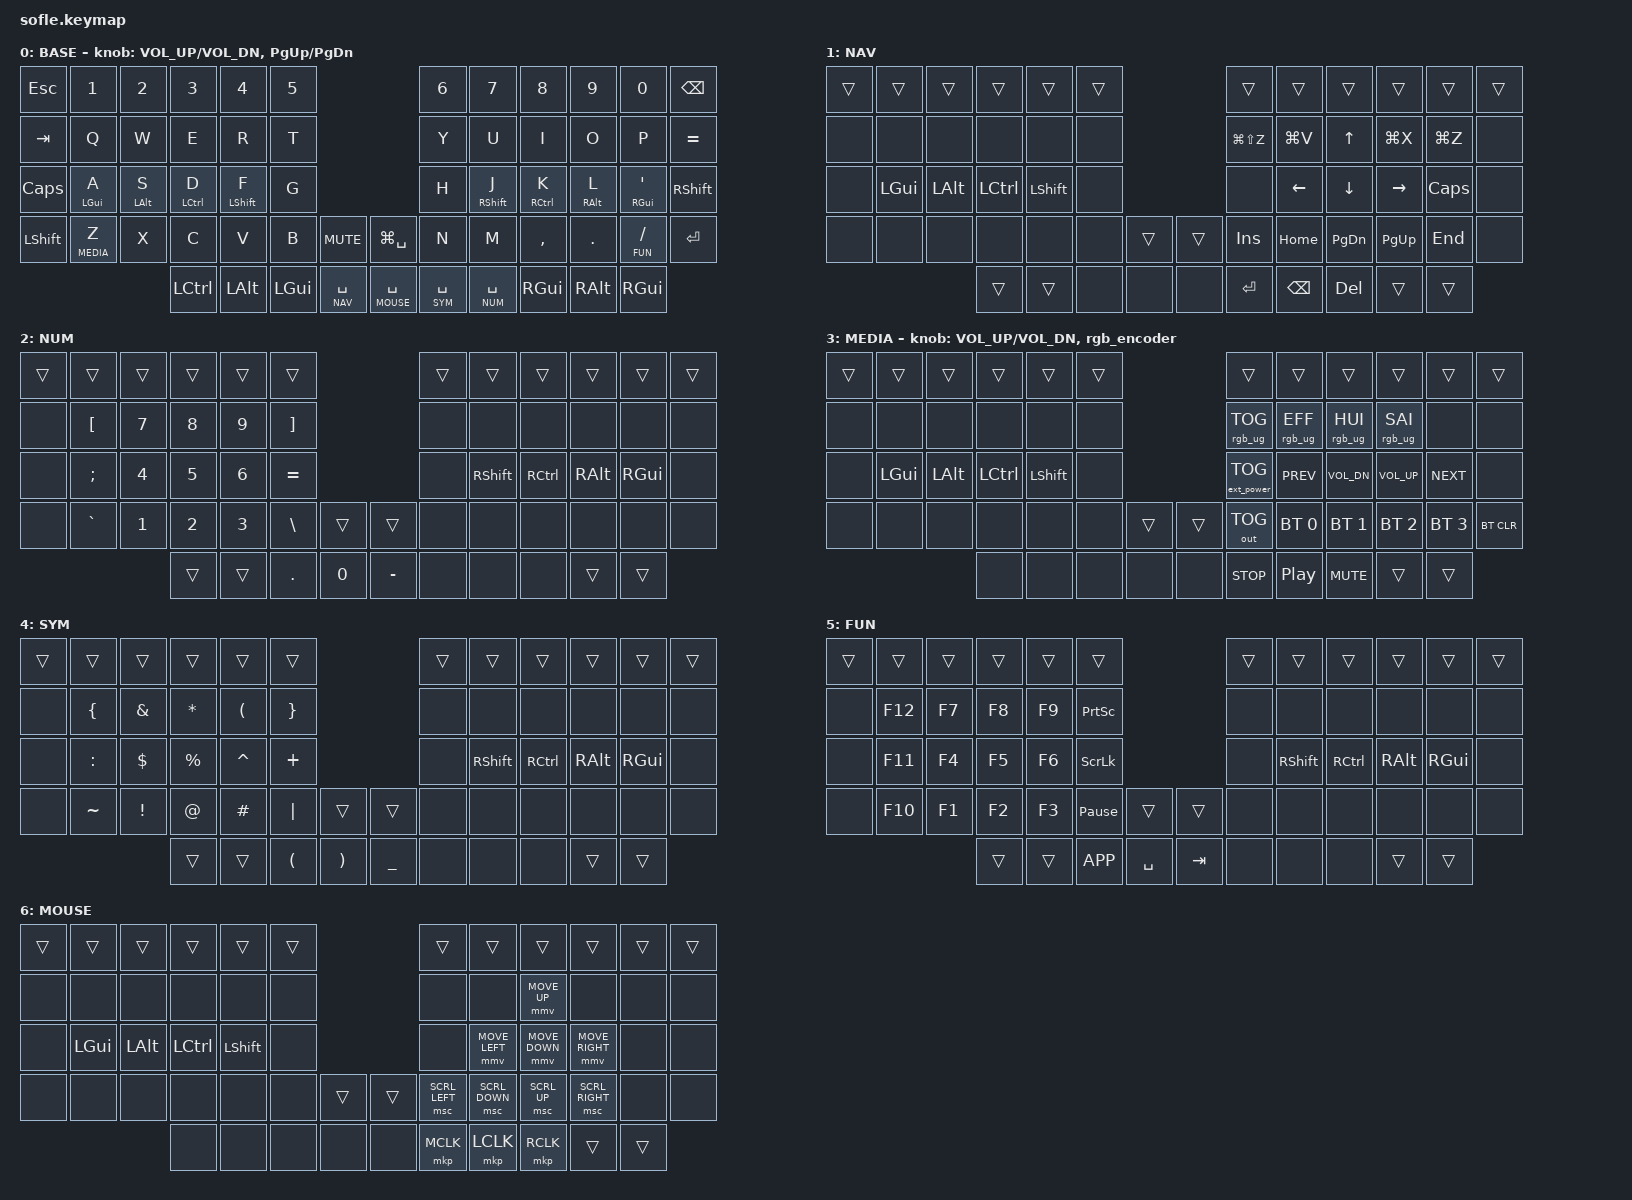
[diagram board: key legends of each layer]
/*
 * Copyright (c) 2020 The ZMK Contributors
 *
 * SPDX-License-Identifier: MIT
 */

//
//   Miryoku-style layout — QWERTY base, vim arrows (HJKL), GACS home row mods
//   Adapted from the Corne config for Sofle (6x4 + thumbs + encoders, 60 keys)
//
//   Layer 0: BASE    — QWERTY + home row mods + number row
//   Layer 1: NAV     — vim arrows, clipboard, nav (hold SPACE)
//   Layer 2: NUM     — numpad left hand (hold BSPC)
//   Layer 3: MEDIA   — media, BT, RGB (hold ESC)
//   Layer 4: SYM     — symbols left hand (hold ENTER)
//   Layer 5: FUN     — function keys left hand (hold DEL)
//   Layer 6: MOUSE   — mouse movement, scroll, buttons (hold TAB)

#include <behaviors.dtsi>
#include <dt-bindings/zmk/bt.h>
#include <dt-bindings/zmk/ext_power.h>
#include <dt-bindings/zmk/keys.h>
#include <dt-bindings/zmk/outputs.h>
#include <dt-bindings/zmk/pointing.h>
#include <dt-bindings/zmk/rgb.h>

#define BASE  0
#define NAV   1
#define NUM   2
#define MEDIA 3
#define SYM   4
#define FUN   5
#define MOUSE 6

// Sofle key positions (60 keys):
// Row 0 (num):    0  1  2  3  4  5      6  7  8  9 10 11
// Row 1 (alpha): 12 13 14 15 16 17     18 19 20 21 22 23
// Row 2 (home):  24 25 26 27 28 29     30 31 32 33 34 35
// Row 3 (bottom):36 37 38 39 40 41 42 43 44 45 46 47 48 49
// Row 4 (thumb):          50 51 52 53 54 55 56 57 58 59
//   (42/43 = inner thumb keys by the encoders; 50/51 & 58/59 = outer thumbs)

&mt {
    flavor = "tap-preferred";
    tapping-term-ms = <200>;
    quick-tap-ms = <175>;
    require-prior-idle-ms = <150>;
};

&lt {
    flavor = "balanced";
    tapping-term-ms = <200>;
    quick-tap-ms = <175>;
};

/ {
    combos {
        compatible = "zmk,combos";

        // -- Tier 1: Essential --

        combo_caps_word {
            bindings = <&caps_word>;
            key-positions = <28 31>;        // F + J (index home row)
            timeout-ms = <30>;
            require-prior-idle-ms = <150>;
        };

        combo_esc {
            bindings = <&kp ESC>;
            key-positions = <14 15>;        // W + E
            timeout-ms = <30>;
            require-prior-idle-ms = <150>;
        };

        combo_bspc {
            bindings = <&kp BSPC>;
            key-positions = <20 21>;        // I + O
            timeout-ms = <30>;
            require-prior-idle-ms = <150>;
        };

        combo_del {
            bindings = <&kp DEL>;
            key-positions = <21 22>;        // O + P
            timeout-ms = <30>;
            require-prior-idle-ms = <150>;
        };

        // -- Tier 2: High Value --

        combo_tab {
            bindings = <&kp TAB>;
            key-positions = <26 27>;        // S + D
            timeout-ms = <30>;
            require-prior-idle-ms = <150>;
        };

        combo_enter {
            bindings = <&kp RET>;
            key-positions = <32 33>;        // K + L
            timeout-ms = <30>;
            require-prior-idle-ms = <150>;
        };

        combo_copy {
            bindings = <&kp LG(C)>;
            key-positions = <38 39>;        // X + C
            timeout-ms = <30>;
            require-prior-idle-ms = <150>;
        };

        combo_paste {
            bindings = <&kp LG(V)>;
            key-positions = <39 40>;        // C + V
            timeout-ms = <30>;
            require-prior-idle-ms = <150>;
        };

        combo_cut {
            bindings = <&kp LG(X)>;
            key-positions = <38 40>;        // X + V (skip middle)
            timeout-ms = <30>;
            require-prior-idle-ms = <150>;
        };

        // -- Tier 3: Vertical Symbol Combos --

        combo_minus {
            bindings = <&kp MINUS>;
            key-positions = <31 45>;        // J + M (right index vertical)
            timeout-ms = <40>;
            require-prior-idle-ms = <100>;
        };

        combo_underscore {
            bindings = <&kp UNDER>;
            key-positions = <30 44>;        // H + N (right inner vertical)
            timeout-ms = <40>;
            require-prior-idle-ms = <100>;
        };

        combo_equal {
            bindings = <&kp EQUAL>;
            key-positions = <28 40>;        // F + V (left index vertical)
            timeout-ms = <40>;
            require-prior-idle-ms = <100>;
        };

        combo_grave {
            bindings = <&kp GRAVE>;
            key-positions = <26 38>;        // S + X (left ring vertical)
            timeout-ms = <40>;
            require-prior-idle-ms = <100>;
        };

        combo_semi {
            bindings = <&kp SEMI>;
            key-positions = <33 34>;        // L + ' (right ring+pinky home)
            timeout-ms = <30>;
            require-prior-idle-ms = <150>;
        };

        combo_slash {
            bindings = <&kp FSLH>;
            key-positions = <22 23>;        // P + =  ->  /  (Shift gives ?)
            timeout-ms = <40>;
            require-prior-idle-ms = <100>;
        };
    };

    macros {
        hyper: hyper {
            compatible = "zmk,behavior-macro";
            #binding-cells = <0>;
            bindings =
                <&macro_press &kp LGUI &kp LALT &kp LCTRL &kp LSHFT>,
                <&macro_pause_for_release>,
                <&macro_release &kp LGUI &kp LALT &kp LCTRL &kp LSHFT>;
        };
    };

    behaviors {
        // Encoder RGB brightness control (rgb_ug cannot be a sensor binding directly)
        rgb_encoder: rgb_encoder {
            compatible = "zmk,behavior-sensor-rotate";
            #sensor-binding-cells = <0>;
            bindings = <&rgb_ug RGB_BRI>, <&rgb_ug RGB_BRD>;
        };
    };

    keymap {
        compatible = "zmk,keymap";

        base_layer {
            display-name = "BASE";
            bindings = <
&kp ESC        &kp N1      &kp N2      &kp N3        &kp N4        &kp N5                                       &kp N6      &kp N7        &kp N8        &kp N9       &kp N0       &kp BSPC
&kp TAB        &kp Q       &kp W       &kp E         &kp R         &kp T                                        &kp Y       &kp U         &kp I         &kp O        &kp P        &kp EQUAL
&kp CAPS       &mt LGUI A  &mt LALT S  &mt LCTRL D   &mt LSHFT F   &kp G                                        &kp H       &mt RSHFT J   &mt RCTRL K   &mt RALT L   &mt RGUI SQT &kp RSHFT
&kp LSHFT      &lt MEDIA Z  &kp X       &kp C         &kp V         &kp B          &kp C_MUTE     &kp LG(SPACE)   &kp N       &kp M         &kp COMMA     &kp DOT      &lt FUN FSLH &kp RET
                                       &kp LCTRL     &kp LALT      &kp LGUI       &lt NAV SPACE  &lt MOUSE SPACE  &lt SYM SPACE &lt NUM SPACE &kp RGUI      &kp RALT     &kp RGUI
            >;

            sensor-bindings = <&inc_dec_kp C_VOL_UP C_VOL_DN &inc_dec_kp PG_UP PG_DN>;
        };

        nav_layer {
            display-name = "NAV";
            bindings = <
&trans         &trans      &trans      &trans        &trans        &trans                                       &trans       &trans      &trans        &trans       &trans       &trans
&none          &none       &none       &none         &none         &none                                        &kp LG(LS(Z)) &kp LG(V)  &kp UP        &kp LG(X)    &kp LG(Z)    &none
&none          &kp LGUI    &kp LALT    &kp LCTRL     &kp LSHFT     &none                                        &none        &kp LEFT    &kp DOWN      &kp RIGHT    &kp CAPS     &none
&none          &none       &none       &none         &none         &none          &trans         &trans         &kp INS      &kp HOME    &kp PG_DN     &kp PG_UP    &kp END      &none
                                       &trans        &trans        &none          &none          &none          &kp RET      &kp BSPC    &kp DEL       &trans       &trans
            >;
        };

        num_layer {
            display-name = "NUM";
            bindings = <
&trans         &trans      &trans      &trans        &trans        &trans                                       &trans      &trans        &trans        &trans       &trans       &trans
&none          &kp LBKT    &kp N7      &kp N8        &kp N9        &kp RBKT                                     &none       &none         &none         &none        &none        &none
&none          &kp SEMI    &kp N4      &kp N5        &kp N6        &kp EQUAL                                    &none       &kp RSHFT     &kp RCTRL     &kp RALT     &kp RGUI     &none
&none          &kp GRAVE   &kp N1      &kp N2        &kp N3        &kp BSLH       &trans         &trans         &none       &none         &none         &none        &none        &none
                                       &trans        &trans        &kp DOT        &kp N0         &kp MINUS      &none       &none         &none         &trans       &trans
            >;
        };

        media_layer {
            display-name = "MEDIA";
            bindings = <
&trans         &trans      &trans      &trans        &trans        &trans                                       &trans         &trans         &trans         &trans       &trans       &trans
&none          &none       &none       &none         &none         &none                                        &rgb_ug RGB_TOG &rgb_ug RGB_EFF &rgb_ug RGB_HUI &rgb_ug RGB_SAI &none      &none
&none          &kp LGUI    &kp LALT    &kp LCTRL     &kp LSHFT     &none                                        &ext_power EP_TOG &kp C_PREV   &kp C_VOL_DN   &kp C_VOL_UP &kp C_NEXT   &none
&none          &none       &none       &none         &none         &none          &trans         &trans         &out OUT_TOG   &bt BT_SEL 0   &bt BT_SEL 1   &bt BT_SEL 2 &bt BT_SEL 3 &bt BT_CLR
                                       &none         &none         &none          &none          &none          &kp C_STOP     &kp C_PP       &kp C_MUTE     &trans       &trans
            >;

            sensor-bindings = <&inc_dec_kp C_VOL_UP C_VOL_DN &rgb_encoder>;
        };

        sym_layer {
            display-name = "SYM";
            bindings = <
&trans         &trans      &trans      &trans        &trans        &trans                                       &trans      &trans        &trans        &trans       &trans       &trans
&none          &kp LBRC    &kp AMPS    &kp ASTRK     &kp LPAR      &kp RBRC                                     &none       &none         &none         &none        &none        &none
&none          &kp COLON   &kp DLLR    &kp PRCNT     &kp CARET     &kp PLUS                                     &none       &kp RSHFT     &kp RCTRL     &kp RALT     &kp RGUI     &none
&none          &kp TILDE   &kp EXCL    &kp AT        &kp HASH      &kp PIPE       &trans         &trans         &none       &none         &none         &none        &none        &none
                                       &trans        &trans        &kp LPAR       &kp RPAR       &kp UNDER      &none       &none         &none         &trans       &trans
            >;
        };

        fun_layer {
            display-name = "FUN";
            bindings = <
&trans         &trans      &trans      &trans        &trans        &trans                                       &trans      &trans        &trans        &trans       &trans       &trans
&none          &kp F12     &kp F7      &kp F8        &kp F9        &kp PSCRN                                    &none       &none         &none         &none        &none        &none
&none          &kp F11     &kp F4      &kp F5        &kp F6        &kp SLCK                                     &none       &kp RSHFT     &kp RCTRL     &kp RALT     &kp RGUI     &none
&none          &kp F10     &kp F1      &kp F2        &kp F3        &kp PAUSE_BREAK &trans        &trans         &none       &none         &none         &none        &none        &none
                                       &trans        &trans        &kp K_APP      &kp SPACE      &kp TAB        &none       &none         &none         &trans       &trans
            >;
        };

        mouse_layer {
            display-name = "MOUSE";
            bindings = <
&trans         &trans      &trans      &trans        &trans        &trans                                       &trans         &trans         &trans       &trans          &trans     &trans
&none          &none       &none       &none         &none         &none                                        &none          &none          &mmv MOVE_UP &none           &none      &none
&none          &kp LGUI    &kp LALT    &kp LCTRL     &kp LSHFT     &none                                        &none          &mmv MOVE_LEFT &mmv MOVE_DOWN &mmv MOVE_RIGHT  &none      &none
&none          &none       &none       &none         &none         &none          &trans         &trans         &msc SCRL_LEFT &msc SCRL_DOWN &msc SCRL_UP &msc SCRL_RIGHT  &none      &none
                                       &none         &none         &none          &none          &none          &mkp MCLK      &mkp LCLK      &mkp RCLK    &trans          &trans
            >;
        };
    };
};
